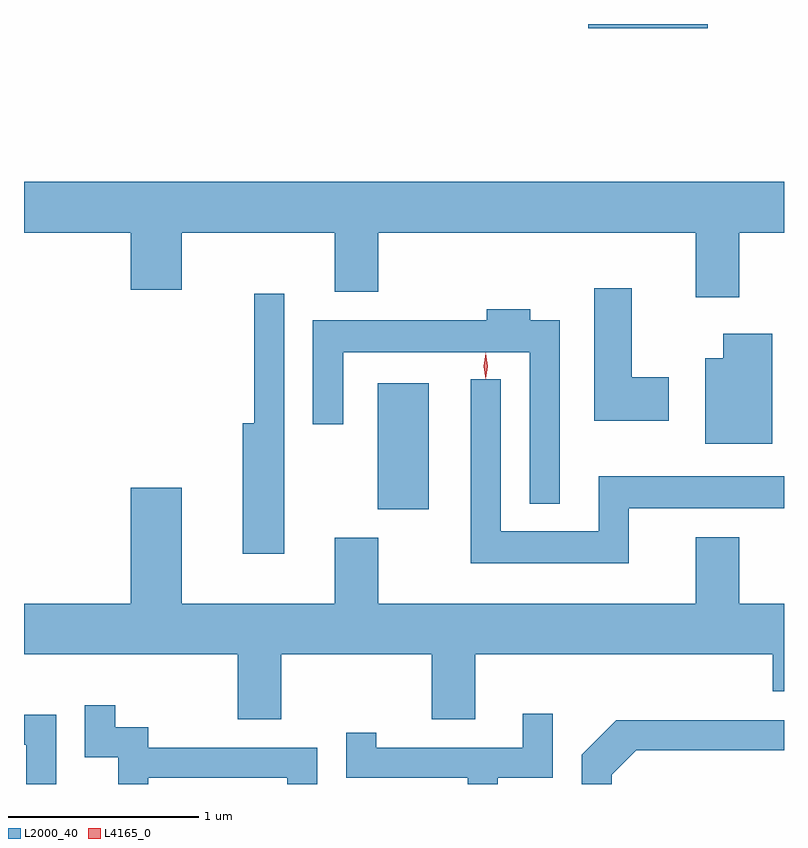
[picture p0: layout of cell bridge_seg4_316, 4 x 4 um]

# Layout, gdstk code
import gdstk
lib = gdstk.Library(unit=1e-6, precision=1e-09)
def R(c, l, rs):  # rectangles x0, y0, x1, y1
    for r in rs: c.add(gdstk.rectangle(r[:2], r[2:], *l))
def P(c, l, *ps):  # polygons
    for p in ps: c.add(gdstk.Polygon(p, *l))
L2000_40 = (2000, 40)
L4165_0 = (4165, 0)

bridge_seg4_316 = lib.new_cell('bridge_seg4_316')
R(bridge_seg4_316, L2000_40, [(516.076,1315.481,516.344,1316.144), (517.186,1318.011,517.814,1318.034)])
P(bridge_seg4_316, L2000_40, [(517.979,1316.936),(518.215,1316.936),(518.215,1317.204),(514.215,1317.204),(514.215,1316.936),(514.776,1316.936),(514.776,1316.636),(515.044,1316.636),(515.044,1316.936),(515.851,1316.936),(515.851,1316.626),(516.079,1316.626),(516.079,1316.936),(517.751,1316.936),(517.751,1316.596),(517.979,1316.596)],
  [(517.609,1316.174),(517.414,1316.174),(517.414,1316.644),(517.216,1316.644),(517.216,1315.946),(517.609,1315.946)],
  [(515.584,1316.613),(515.426,1316.613),(515.426,1315.934),(515.366,1315.934),(515.366,1315.246),(515.584,1315.246)],
  [(517.034,1316.474),(516.879,1316.474),(516.879,1316.534),(516.651,1316.534),(516.651,1316.474),(515.736,1316.474),(515.736,1315.928),(515.894,1315.928),(515.894,1316.306),(516.876,1316.306),(516.876,1315.508),(517.034,1315.508)],
  [(518.154,1316.404),(517.896,1316.404),(517.896,1316.274),(517.801,1316.274),(517.801,1315.826),(518.154,1315.826)],
  [(517.399,1315.486),(518.215,1315.486),(518.215,1315.654),(517.241,1315.654),(517.241,1315.364),(516.724,1315.364),(516.724,1316.163),(516.566,1316.163),(516.566,1315.196),(517.399,1315.196)],
  [(514.776,1315.594),(514.776,1314.984),(514.215,1314.984),(514.215,1314.716),(515.341,1314.716),(515.341,1314.376),(515.569,1314.376),(515.569,1314.716),(516.361,1314.716),(516.361,1314.376),(516.589,1314.376),(516.589,1314.716),(518.156,1314.716),(518.156,1314.521),(518.215,1314.521),(518.215,1314.984),(517.979,1314.984),(517.979,1315.334),(517.751,1315.334),(517.751,1314.984),(516.079,1314.984),(516.079,1315.329),(515.851,1315.329),(515.851,1314.984),(515.044,1314.984),(515.044,1315.594)],
  [(514.869,1314.066),(515.601,1314.066),(515.601,1314.034),(515.759,1314.034),(515.759,1314.224),(514.869,1314.224),(514.869,1314.334),(514.694,1314.334),(514.694,1314.448),(514.536,1314.448),(514.536,1314.176),(514.711,1314.176),(514.711,1314.034),(514.869,1314.034)],
  [(516.709,1314.066),(516.999,1314.066),(516.999,1314.403),(516.841,1314.403),(516.841,1314.224),(516.069,1314.224),(516.069,1314.303),(515.911,1314.303),(515.911,1314.066),(516.551,1314.066),(516.551,1314.034),(516.709,1314.034)],
  [(514.384,1314.399),(514.215,1314.399),(514.215,1314.241),(514.226,1314.241),(514.226,1314.034),(514.384,1314.034)],
  [(517.309,1314.084),(517.437,1314.211),(518.215,1314.211),(518.215,1314.369),(517.333,1314.369),(517.151,1314.187),(517.151,1314.034),(517.309,1314.034)])
P(bridge_seg4_316, L4165_0, [(516.644,1316.167),(516.635,1316.234),(516.644,1316.3),(516.645,1316.3),(516.645,1316.3),(516.655,1316.234),(516.645,1316.167),(516.645,1316.167)],
  [(516.644,1316.164),(516.644,1316.164),(516.634,1316.234),(516.644,1316.302),(516.644,1316.303),(516.645,1316.302),(516.654,1316.234),(516.645,1316.164)])

lib.write_gds('bridge_seg4_316.gds')
